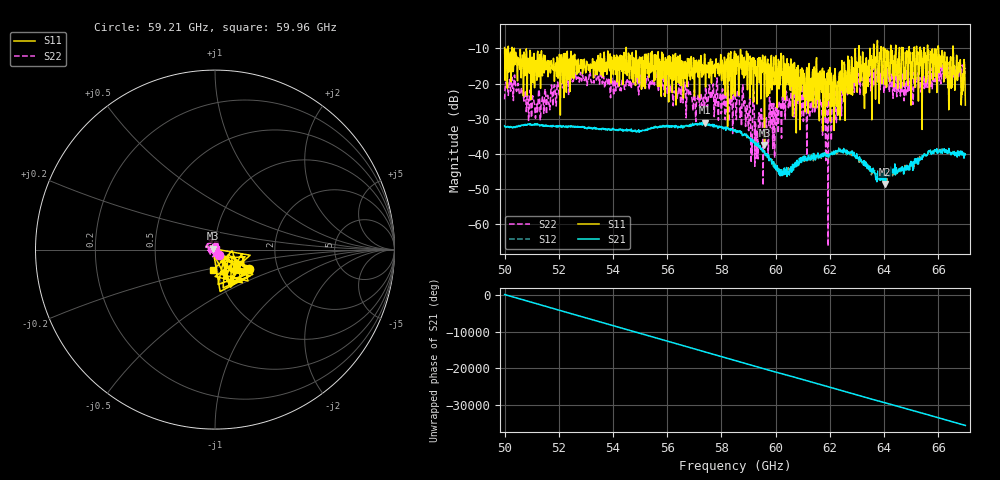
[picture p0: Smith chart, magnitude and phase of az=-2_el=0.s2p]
!Created with skrf (http://scikit-rf.org).
# GHz S RI R 50.0
!freq ReS11 ImS11 ReS21 ImS21 ReS12 ImS12 ReS22 ImS22
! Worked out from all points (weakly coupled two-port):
!   1001 points, 50 GHz to 67 GHz, reference 50 ohm
!   highest |S21| = -31.19 dB at 57.4 GHz (marker M1); lowest = -48.7 dB at 64.04 GHz (marker M2)
!   lowest |S11| = -37.5 dB at 59.59 GHz (marker M3), VSWR 1.03, Z = 48.8 + j0.504 ohm
!   |S11| at or under -10 dB: 50.36 GHz to 54.49 GHz (4.13 GHz wide, 7.88 % of centre); 54.49 GHz to 63.07 GHz (8.581 GHz wide, 14.6 % of centre); 66.01 GHz to 66.54 GHz (532.4 MHz wide, 0.803 % of centre) (the widest 3 of 24)
!   |S22| runs from -66.4 to -14.0 dB; largest |S21 - S12| = 0.0023
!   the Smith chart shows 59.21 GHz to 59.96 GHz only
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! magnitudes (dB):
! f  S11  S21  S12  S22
! 50 GHz  -9.7  -32.1  -32.3  -24.5
! 50.42 GHz  -13.4  -32.2  -32.3  -22.0
! 51.16 GHz  -13.6  -31.5  -31.6  -28.1
! 52.84 GHz  -14.0  -32.3  -32.4  -19.3
! 55.68 GHz  -13.3  -32.3  -32.3  -22.3
! 57.4 GHz  -13.3  -31.2  -31.5  -24.5
! 58.5 GHz  -23.5  -33.5  -33.3  -23.4
! 59.59 GHz  -37.5  -39.3  -39.2  -30.6
! 60.18 GHz  -15.8  -44.6  -45.2  -26.0
! 60.64 GHz  -14.4  -44.5  -44.0  -22.4
! 61.34 GHz  -25.0  -41.4  -41.3  -25.5
! 61.83 GHz  -29.4  -40.5  -39.8  -32.8
! 61.88 GHz  -26.4  -40.8  -40.3  -22.9
! 62.55 GHz  -14.9  -39.2  -39.3  -19.3
! 63.01 GHz  -22.5  -41.2  -40.7  -20.0
! 63.33 GHz  -22.7  -42.4  -43.2  -19.0
! 64.04 GHz  -20.3  -48.7  -46.8  -17.9
! 64.18 GHz  -17.6  -46.6  -46.2  -18.7
! 66.08 GHz  -14.9  -39.8  -39.3  -15.5
! 66.42 GHz  -15.4  -39.6  -39.7  -16.4
! 66.75 GHz  -16.7  -40.2  -40.5  -18.1
! 67 GHz  -26.2  -40.3  -40.2  -15.5
